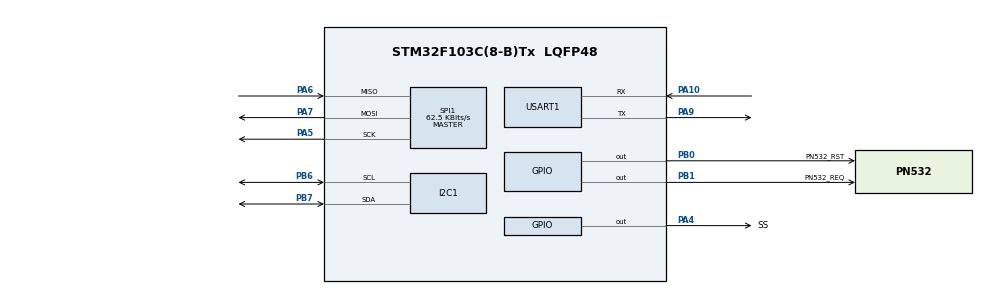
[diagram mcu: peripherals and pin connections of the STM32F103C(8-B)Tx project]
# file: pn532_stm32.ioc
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I2C1.NoStretchMode=I2C_NOSTRETCH_DISABLE
I2C1.OwnAddress=0x48
Mcu.Family=STM32F1
Mcu.Name=STM32F103C(8-B)Tx
Mcu.Package=LQFP48
NVIC.PriorityGroup=NVIC_PRIORITYGROUP_4
PA10.Mode=Asynchronous
PA10.Signal=USART1_RX
PA4.GPIO_Label=SS
PA4.GPIO_PuPd=GPIO_PULLUP
PA4.Signal=GPIO_Output
PA5.Mode=Full_Duplex_Master
PA5.Signal=SPI1_SCK
PA6.Mode=Full_Duplex_Master
PA6.Signal=SPI1_MISO
PA7.Mode=Full_Duplex_Master
PA7.Signal=SPI1_MOSI
PA9.Mode=Asynchronous
PA9.Signal=USART1_TX
PB0.GPIO_Label=PN532_RST
PB0.GPIO_PuPd=GPIO_PULLUP
PB0.PinState=GPIO_PIN_SET
PB0.Signal=GPIO_Output
PB1.GPIO_Label=PN532_REQ
PB1.GPIO_PuPd=GPIO_PULLUP
PB1.PinState=GPIO_PIN_SET
PB1.Signal=GPIO_Output
PB6.Mode=I2C
PB6.Signal=I2C1_SCL
PB7.Mode=I2C
PB7.Signal=I2C1_SDA
ProjectManager.HeapSize=0x200
ProjectManager.StackSize=0x400
ProjectManager.TargetToolchain=MDK-ARM V5
RCC.APB1Freq_Value=8000000
RCC.APB2Freq_Value=8000000
SPI1.BaudRatePrescaler=SPI_BAUDRATEPRESCALER_128
SPI1.CalculateBaudRate=62.5 KBits/s
SPI1.Direction=SPI_DIRECTION_2LINES
SPI1.FirstBit=SPI_FIRSTBIT_LSB
SPI1.Mode=SPI_MODE_MASTER
SPI1.VirtualType=VM_MASTER
USART1.VirtualMode=VM_ASYNC
VP_SYS_VS_ND.Mode=No_Debug
board=custom

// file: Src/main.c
/* USER CODE BEGIN Header */
/**
  ******************************************************************************
  * @file           : main.c
  * @brief          : Main program body
  ******************************************************************************
  * @attention
  *
  * <h2><center>&copy; Copyright (c) 2019 STMicroelectronics.
  * All rights reserved.</center></h2>
  *
  * This software component is licensed by ST under BSD 3-Clause license,
  * the "License"; You may not use this file except in compliance with the
  * License. You may obtain a copy of the License at:
  *                        opensource.org/licenses/BSD-3-Clause
  *
  ******************************************************************************
  */
/* USER CODE END Header */

#include "main.h"

/* USER CODE BEGIN Includes */
#include "pn532_stm32f1.h"
/* USER CODE END Includes */

I2C_HandleTypeDef hi2c1;

SPI_HandleTypeDef hspi1;

UART_HandleTypeDef huart1;

/* USER CODE BEGIN PV */
PN532 pn532;
/* USER CODE END PV */

void SystemClock_Config(void);
static void MX_GPIO_Init(void);
static void MX_SPI1_Init(void);
static void MX_USART1_UART_Init(void);
static void MX_I2C1_Init(void);

int main(void)
{
  /* USER CODE BEGIN 1 */
  uint8_t buff[255];
  bool pin_state = false;
  /* USER CODE END 1 */

  /* MCU Configuration--------------------------------------------------------*/

  /* Reset of all peripherals, Initializes the Flash interface and the Systick. */
  HAL_Init();

  /* Configure the system clock */
  SystemClock_Config();

  /* Initialize all configured peripherals */
  MX_GPIO_Init();
  MX_SPI1_Init();
  MX_USART1_UART_Init();
  MX_I2C1_Init();
  /* USER CODE BEGIN 2 */
  printf("Hello!\r\n");
  PN532 pn532;
  // PN532_SPI_Init(&pn532);
  PN532_I2C_Init(&pn532);
  if (PN532_GetFirmwareVersion(&pn532, buff) == PN532_STATUS_OK) {
    printf("Found PN532 with firmware version: %d.%d\r\n", buff[1], buff[2]);
  } else {
    return -1;
  }
  PN532_WriteGpioP(&pn532, 30, true);
  PN532_WriteGpioP(&pn532, 31, false);
  //PN532_WriteGpioP(&pn532, 32, true);   // Reserved, don't change this
  PN532_WriteGpioP(&pn532, 33, false);
  //PN532_WriteGpioP(&pn532, 34, true);   // Reserved, don't change this
  PN532_WriteGpioP(&pn532, 35, false);
  PN532_WriteGpioP(&pn532, 71, false);  // Always HIGH in SPI mode
  PN532_WriteGpioP(&pn532, 72, true);   // Always HIGH in SPI mode
  for (uint8_t i = 30; i < 36; i++) {
    pin_state = PN532_ReadGpioP(&pn532, i);
    printf("Pin P%d: %d\r\n", i, pin_state);
  }
  for (uint8_t i = 71; i < 73; i++) {
    pin_state = PN532_ReadGpioP(&pn532, i);
    printf("Pin P%d: %d\r\n", i, pin_state);
  }
  for (uint8_t i = 0; i < 2; i++) {
    pin_state = PN532_ReadGpioI(&pn532, i);
    printf("Pin I%d: %d\r\n", i, pin_state);
  }
  /* USER CODE END 2 */

  /* Infinite loop */
  while (1)
  {

  }
}

void SystemClock_Config(void)
{
  RCC_OscInitTypeDef RCC_OscInitStruct = {0};
  RCC_ClkInitTypeDef RCC_ClkInitStruct = {0};

  /** Initializes the CPU, AHB and APB busses clocks
  */
  RCC_OscInitStruct.OscillatorType = RCC_OSCILLATORTYPE_HSI;
  RCC_OscInitStruct.HSIState = RCC_HSI_ON;
  RCC_OscInitStruct.HSICalibrationValue = RCC_HSICALIBRATION_DEFAULT;
  RCC_OscInitStruct.PLL.PLLState = RCC_PLL_NONE;
  if (HAL_RCC_OscConfig(&RCC_OscInitStruct) != HAL_OK)
  {
    Error_Handler();
  }
  /** Initializes the CPU, AHB and APB busses clocks
  */
  RCC_ClkInitStruct.ClockType = RCC_CLOCKTYPE_HCLK|RCC_CLOCKTYPE_SYSCLK
                              |RCC_CLOCKTYPE_PCLK1|RCC_CLOCKTYPE_PCLK2;
  RCC_ClkInitStruct.SYSCLKSource = RCC_SYSCLKSOURCE_HSI;
  RCC_ClkInitStruct.AHBCLKDivider = RCC_SYSCLK_DIV1;
  RCC_ClkInitStruct.APB1CLKDivider = RCC_HCLK_DIV1;
  RCC_ClkInitStruct.APB2CLKDivider = RCC_HCLK_DIV1;

  if (HAL_RCC_ClockConfig(&RCC_ClkInitStruct, FLASH_LATENCY_0) != HAL_OK)
  {
    Error_Handler();
  }
}

static void MX_I2C1_Init(void)
{

  hi2c1.Instance = I2C1;
  hi2c1.Init.ClockSpeed = 100000;
  hi2c1.Init.DutyCycle = I2C_DUTYCYCLE_2;
  hi2c1.Init.OwnAddress1 = 144;
  hi2c1.Init.AddressingMode = I2C_ADDRESSINGMODE_7BIT;
  hi2c1.Init.DualAddressMode = I2C_DUALADDRESS_DISABLE;
  hi2c1.Init.OwnAddress2 = 0;
  hi2c1.Init.GeneralCallMode = I2C_GENERALCALL_DISABLE;
  hi2c1.Init.NoStretchMode = I2C_NOSTRETCH_DISABLE;
  if (HAL_I2C_Init(&hi2c1) != HAL_OK)
  {
    Error_Handler();
  }

}

static void MX_SPI1_Init(void)
{

  /* SPI1 parameter configuration*/
  hspi1.Instance = SPI1;
  hspi1.Init.Mode = SPI_MODE_MASTER;
  hspi1.Init.Direction = SPI_DIRECTION_2LINES;
  hspi1.Init.DataSize = SPI_DATASIZE_8BIT;
  hspi1.Init.CLKPolarity = SPI_POLARITY_LOW;
  hspi1.Init.CLKPhase = SPI_PHASE_1EDGE;
  hspi1.Init.NSS = SPI_NSS_SOFT;
  hspi1.Init.BaudRatePrescaler = SPI_BAUDRATEPRESCALER_128;
  hspi1.Init.FirstBit = SPI_FIRSTBIT_LSB;
  hspi1.Init.TIMode = SPI_TIMODE_DISABLE;
  hspi1.Init.CRCCalculation = SPI_CRCCALCULATION_DISABLE;
  hspi1.Init.CRCPolynomial = 10;
  if (HAL_SPI_Init(&hspi1) != HAL_OK)
  {
    Error_Handler();
  }

}

static void MX_USART1_UART_Init(void)
{

  huart1.Instance = USART1;
  huart1.Init.BaudRate = 115200;
  huart1.Init.WordLength = UART_WORDLENGTH_8B;
  huart1.Init.StopBits = UART_STOPBITS_1;
  huart1.Init.Parity = UART_PARITY_NONE;
  huart1.Init.Mode = UART_MODE_TX_RX;
  huart1.Init.HwFlowCtl = UART_HWCONTROL_NONE;
  huart1.Init.OverSampling = UART_OVERSAMPLING_16;
  if (HAL_UART_Init(&huart1) != HAL_OK)
  {
    Error_Handler();
  }

}

static void MX_GPIO_Init(void)
{
  GPIO_InitTypeDef GPIO_InitStruct = {0};

  /* GPIO Ports Clock Enable */
  __HAL_RCC_GPIOA_CLK_ENABLE();
  __HAL_RCC_GPIOB_CLK_ENABLE();

  /*Configure GPIO pin Output Level */
  HAL_GPIO_WritePin(SS_GPIO_Port, SS_Pin, GPIO_PIN_RESET);

  /*Configure GPIO pin Output Level */
  HAL_GPIO_WritePin(GPIOB, PN532_RST_Pin|PN532_REQ_Pin, GPIO_PIN_SET);

  /*Configure GPIO pin : SS_Pin */
  GPIO_InitStruct.Pin = SS_Pin;
  GPIO_InitStruct.Mode = GPIO_MODE_OUTPUT_PP;
  GPIO_InitStruct.Pull = GPIO_PULLUP;
  GPIO_InitStruct.Speed = GPIO_SPEED_FREQ_LOW;
  HAL_GPIO_Init(SS_GPIO_Port, &GPIO_InitStruct);

  /*Configure GPIO pins : PN532_RST_Pin PN532_REQ_Pin */
  GPIO_InitStruct.Pin = PN532_RST_Pin|PN532_REQ_Pin;
  GPIO_InitStruct.Mode = GPIO_MODE_OUTPUT_PP;
  GPIO_InitStruct.Pull = GPIO_PULLUP;
  GPIO_InitStruct.Speed = GPIO_SPEED_FREQ_LOW;
  HAL_GPIO_Init(GPIOB, &GPIO_InitStruct);

}

/* USER CODE BEGIN 4 */
#ifdef __GNUC__
  /* With GCC/RAISONANCE, small printf (option LD Linker->Libraries->Small printf
     set to 'Yes') calls __io_putchar() */
  #define PUTCHAR_PROTOTYPE int __io_putchar(int ch)
#else
  #define PUTCHAR_PROTOTYPE int fputc(int ch, FILE *f)
#endif /* __GNUC__ */
/**
  * @brief  Retargets the C library printf function to the USART.
  * @param  None
  * @retval None
  */
PUTCHAR_PROTOTYPE
{
  /* Place your implementation of fputc here */
  /* e.g. write a character to the EVAL_COM1 and Loop until the end of transmission */
  HAL_UART_Transmit(&huart1, (uint8_t *)&ch, 1, 0xFFFF);

  return ch;
}
/* USER CODE END 4 */

void Error_Handler(void)
{
}

/************************ (C) COPYRIGHT STMicroelectronics *****END OF FILE****/
